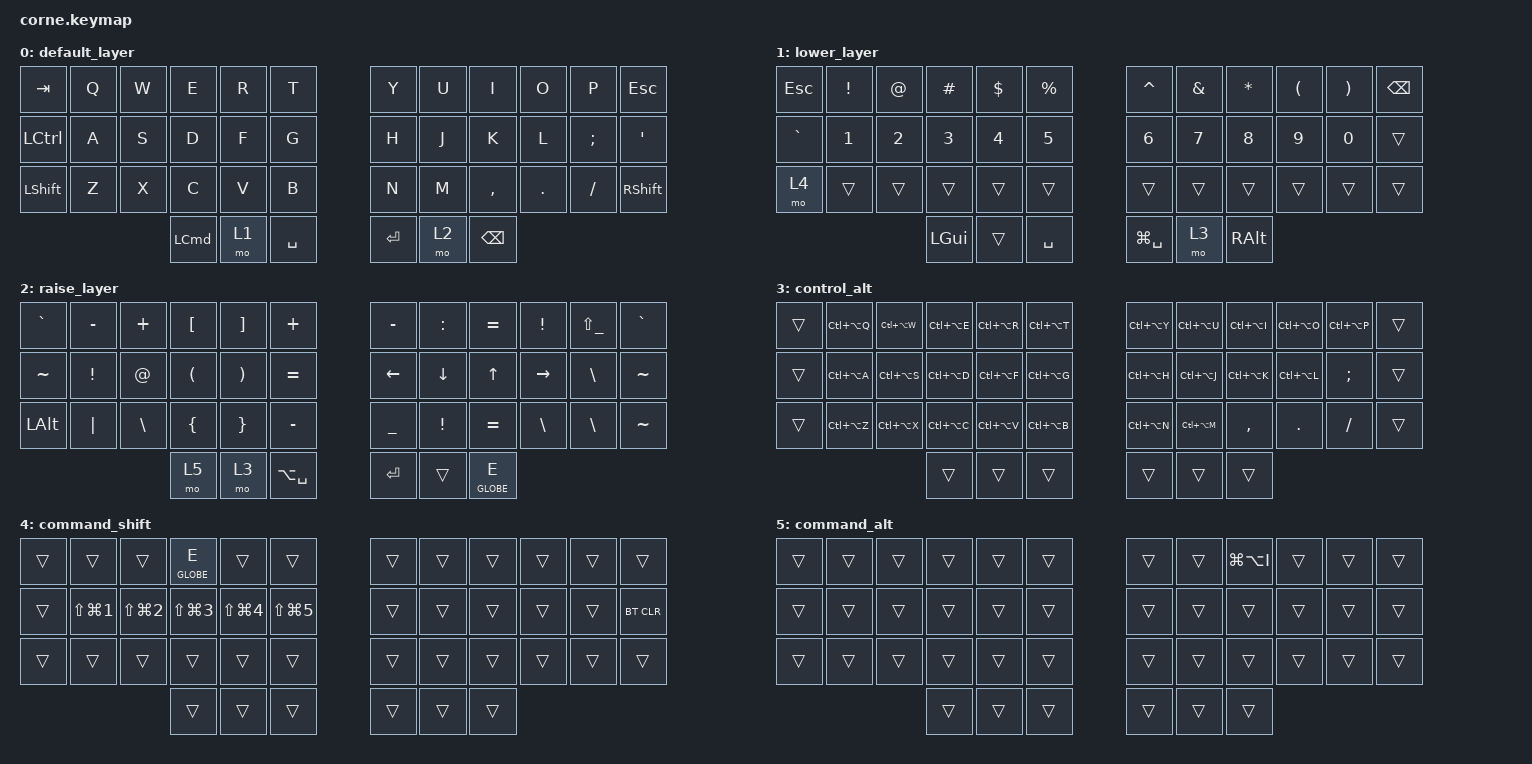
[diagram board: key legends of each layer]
/*
 * Copyright (c) 2020 The ZMK Contributors
 *
 * SPDX-License-Identifier: MIT
 */

#include <behaviors.dtsi>
#include <dt-bindings/zmk/bt.h>
#include <dt-bindings/zmk/keys.h>

/ {
    keymap {
        compatible = "zmk,keymap";

        default_layer {
            // -----------------------------------------------------------------------------------------
            // |  TAB |  Q  |  W  |  E  |  R  |  T  |   |  Y  |  U   |  I  |  O  |  P  | BSPC |
            // | CTRL |  A  |  S  |  D  |  F  |  G  |   |  H  |  J   |  K  |  L  |  ;  |  '   |
            // | SHFT |  Z  |  X  |  C  |  V  |  B  |   |  N  |  M   |  ,  |  .  |  /  | ESC  |
            //                    | GUI | LWR | SPC |   | ENT | RSE  | ALT |

            bindings = <
&kp TAB    &kp Q  &kp W  &kp E             &kp R  &kp T        &kp Y    &kp U  &kp I          &kp O    &kp P     &kp ESCAPE
&kp LCTRL  &kp A  &kp S  &kp D             &kp F  &kp G        &kp H    &kp J  &kp K          &kp L    &kp SEMI  &kp SQT
&kp LSHFT  &kp Z  &kp X  &kp C             &kp V  &kp B        &kp N    &kp M  &kp COMMA      &kp DOT  &kp FSLH  &kp RIGHT_SHIFT
                         &kp LEFT_COMMAND  &mo 1  &kp SPACE    &kp RET  &mo 2  &kp BACKSPACE
            >;
        };

        lower_layer {
            // -----------------------------------------------------------------------------------------
            // |  TAB |  1  |  2  |  3  |  4  |  5  |   |  6  |  7  |  8  |  9  |  0  | BSPC |
            // | BTCLR| BT1 | BT2 | BT3 | BT4 | BT5 |   | LFT | DWN |  UP | RGT |     |      |
            // | SHFT |     |     |     |     |     |   |     |     |     |     |     |      |
            //                    | GUI |     | SPC |   | ENT |     | ALT |

            bindings = <
&kp ESCAPE  &kp EXCLAMATION  &kp AT  &kp POUND  &kp DOLLAR  &kp PERCENT    &kp CARET      &kp AMPS  &kp ASTERISK  &kp LEFT_PARENTHESIS  &kp RIGHT_PARENTHESIS  &kp BSPC
&kp GRAVE   &kp N1           &kp N2  &kp N3     &kp N4      &kp N5         &kp N6         &kp N7    &kp N8        &kp N9                &kp N0                 &trans
&mo 4       &trans           &trans  &trans     &trans      &trans         &trans         &trans    &trans        &trans                &trans                 &trans
                                     &kp LGUI   &trans      &kp SPACE      &kp LG(SPACE)  &mo 3     &kp RALT
            >;
        };

        raise_layer {
            // -----------------------------------------------------------------------------------------
            // |  TAB |  !  |  @  |  #  |  $  |  %  |   |  ^  |  &  |  *  |  (  |  )  | BSPC |
            // | CTRL |     |     |     |     |     |   |  -  |  =  |  [  |  ]  |  \  |  `   |
            // | SHFT |     |     |     |     |     |   |  _  |  +  |  {  |  }  | "|" |  ~   |
            //                    | GUI |     | SPC |   | ENT |     | ALT |

            bindings = <
&kp GRAVE     &kp MINUS        &kp PLUS       &kp LBKT              &kp RBKT               &kp PLUS         &kp MINUS  &kp COLON  &kp EQUAL    &kp EXCL       &kp LS(UNDER)  &kp GRAVE
&kp TILDE     &kp EXCLAMATION  &kp AT         &kp LEFT_PARENTHESIS  &kp RIGHT_PARENTHESIS  &kp EQUAL        &kp LEFT   &kp DOWN   &kp UP       &kp RIGHT      &kp BSLH       &kp TILDE
&kp LEFT_ALT  &kp PIPE         &kp BACKSLASH  &kp LEFT_BRACE        &kp RIGHT_BRACE        &kp MINUS        &kp UNDER  &kp EXCL   &kp EQUAL    &kp BACKSLASH  &kp BACKSLASH  &kp TILDE
                                              &mo 5                 &mo 3                  &kp LA(SPACE)    &kp RET    &trans     &mt GLOBE E
            >;
        };

        control_alt {
            bindings = <
&trans  &kp LC(LA(Q))  &kp LC(LA(W))  &kp LC(LA(E))  &kp LC(LA(R))  &kp LC(LA(T))    &kp LC(LA(Y))  &kp LC(LA(U))  &kp LC(LA(I))  &kp LC(LA(O))  &kp LC(LA(P))  &trans
&trans  &kp LC(LA(A))  &kp LC(LA(S))  &kp LC(LA(D))  &kp LC(LA(F))  &kp LC(LA(G))    &kp LC(LA(H))  &kp LC(LA(J))  &kp LC(LA(K))  &kp LC(LA(L))  &kp SEMI       &trans
&trans  &kp LC(LA(Z))  &kp LC(LA(X))  &kp LC(LA(C))  &kp LC(LA(V))  &kp LC(LA(B))    &kp LC(LA(N))  &kp LC(LA(M))  &kp COMMA      &kp DOT        &kp FSLH       &trans
                                      &trans         &trans         &trans           &trans         &trans         &trans
            >;
        };

        command_shift {
            bindings = <
&trans  &trans                &trans                &mt GLOBE E           &trans                &trans                  &trans  &trans  &trans  &trans  &trans  &trans
&trans  &kp LS(LG(NUMBER_1))  &kp LS(LG(NUMBER_2))  &kp LS(LG(NUMBER_3))  &kp LS(LG(NUMBER_4))  &kp LS(LG(NUMBER_5))    &trans  &trans  &trans  &trans  &trans  &bt BT_CLR
&trans  &trans                &trans                &trans                &trans                &trans                  &trans  &trans  &trans  &trans  &trans  &trans
                                                    &trans                &trans                &trans                  &trans  &trans  &trans
            >;
        };

        command_alt {
            bindings = <
&trans  &trans  &trans  &trans  &trans  &trans    &trans  &trans  &kp LG(LA(I))  &trans  &trans  &trans
&trans  &trans  &trans  &trans  &trans  &trans    &trans  &trans  &trans         &trans  &trans  &trans
&trans  &trans  &trans  &trans  &trans  &trans    &trans  &trans  &trans         &trans  &trans  &trans
                        &trans  &trans  &trans    &trans  &trans  &trans
            >;
        };
    };
};
